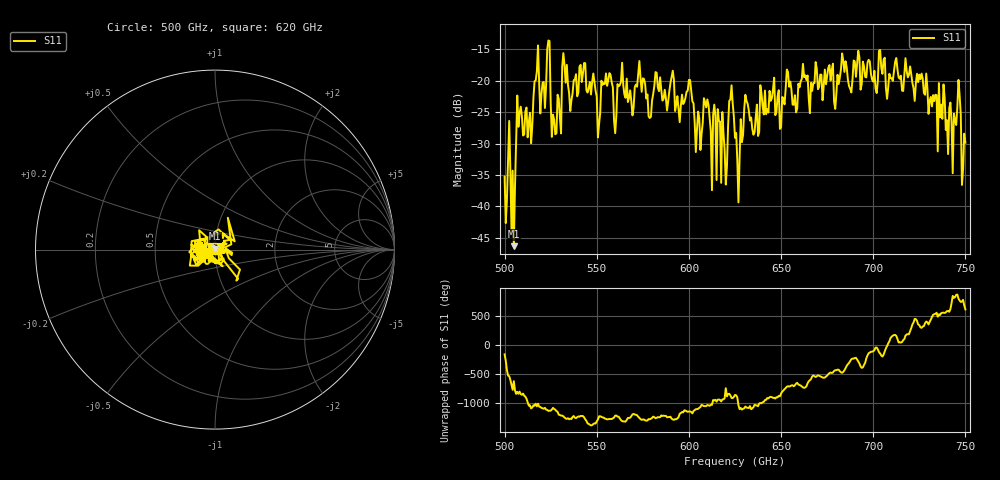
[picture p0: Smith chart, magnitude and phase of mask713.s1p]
!Created with skrf (http://scikit-rf.org).
# GHz S MA R 50.0
!freq magS11 angS11
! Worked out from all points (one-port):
!   401 points, 500 GHz to 750 GHz, reference 50 ohm
!   lowest |S11| = -46.3 dB at 505 GHz (marker M1), VSWR 1.01, Z = 50 + j0.48 ohm
!   |S11| at or under -10 dB: start of sweep to end of sweep
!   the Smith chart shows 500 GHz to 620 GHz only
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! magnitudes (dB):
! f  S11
! 500 GHz  -35.3
! 505 GHz  -46.3
! 507.5 GHz  -27.3
! 513.8 GHz  -25.1
! 517.5 GHz  -18.5
! 520.6 GHz  -20.3
! 523.8 GHz  -13.6
! 526.9 GHz  -26.2
! 531.2 GHz  -17.7
! 542.5 GHz  -18.8
! 550.6 GHz  -29.0
! 562.5 GHz  -20.7
! 590.6 GHz  -19.3
! 593.8 GHz  -22.4
! 600 GHz  -19.8
! 605 GHz  -24.9
! 609.4 GHz  -24.2
! 618.8 GHz  -28.3
! 623.1 GHz  -20.7
! 625 GHz  -29.1
! 626.2 GHz  -32.6
! 631.2 GHz  -23.2
! 656.2 GHz  -23.8
! 687.5 GHz  -21.3
! 718.8 GHz  -19.4
! 741.9 GHz  -23.5
! 746.2 GHz  -19.8
! 750 GHz  -29.8
